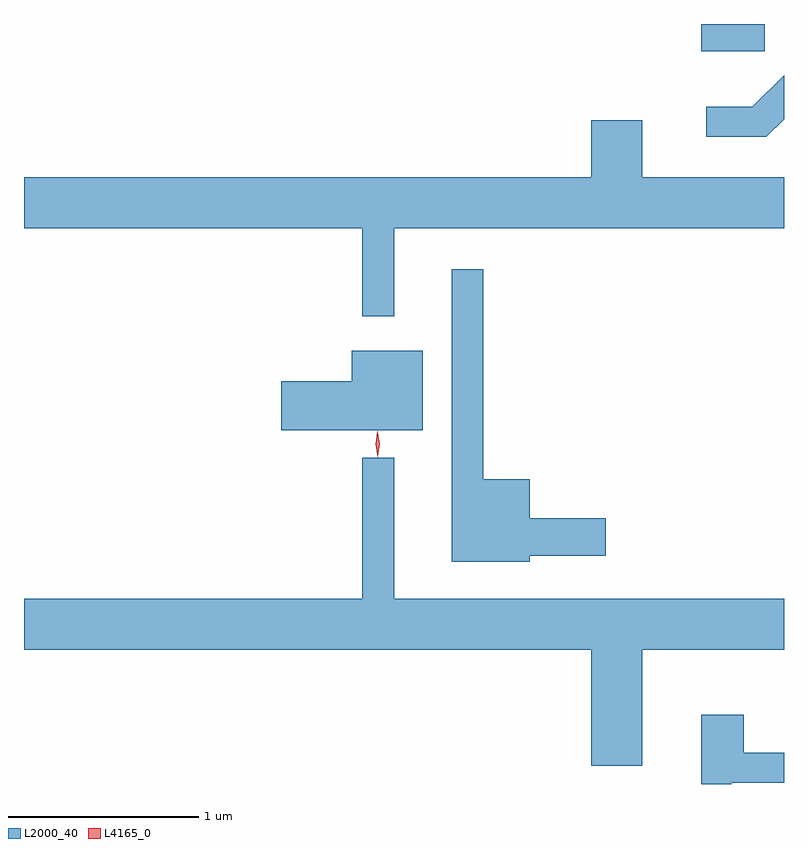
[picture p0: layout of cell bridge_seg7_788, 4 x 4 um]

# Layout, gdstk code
import gdstk
lib = gdstk.Library(unit=1e-6, precision=1e-09)
def R(c, l, rs):  # rectangles x0, y0, x1, y1
    for r in rs: c.add(gdstk.rectangle(r[:2], r[2:], *l))
def P(c, l, *ps):  # polygons
    for p in ps: c.add(gdstk.Polygon(p, *l))
L2000_40 = (2000, 40)
L4165_0 = (4165, 0)

bridge_seg7_788 = lib.new_cell('bridge_seg7_788')
R(bridge_seg7_788, L2000_40, [(375.496,1784.066,375.829,1784.21)])
P(bridge_seg7_788, L2000_40, [(375.931,1783.71),(375.931,1783.941),(375.764,1783.774),(375.523,1783.774),(375.523,1783.616),(375.837,1783.616)],
  [(371.931,1783.136),(373.711,1783.136),(373.711,1782.673),(373.879,1782.673),(373.879,1783.136),(375.931,1783.136),(375.931,1783.404),(375.184,1783.404),(375.184,1783.704),(374.916,1783.704),(374.916,1783.404),(371.931,1783.404)],
  [(374.594,1781.411),(374.994,1781.411),(374.994,1781.609),(374.594,1781.609),(374.594,1781.814),(374.349,1781.814),(374.349,1782.918),(374.181,1782.918),(374.181,1781.381),(374.594,1781.381)],
  [(374.029,1782.489),(373.656,1782.489),(373.656,1782.329),(373.286,1782.329),(373.286,1782.071),(374.029,1782.071)],
  [(375.184,1780.916),(375.931,1780.916),(375.931,1781.184),(373.879,1781.184),(373.879,1781.928),(373.711,1781.928),(373.711,1781.184),(371.931,1781.184),(371.931,1780.916),(374.916,1780.916),(374.916,1780.306),(375.184,1780.306)],
  [(375.654,1780.216),(375.931,1780.216),(375.931,1780.374),(375.719,1780.374),(375.719,1780.574),(375.496,1780.574),(375.496,1780.21),(375.654,1780.21)])
P(bridge_seg7_788, L4165_0, [(373.794,1781.933),(373.793,1781.934),(373.784,1781.997),(373.793,1782.059),(373.794,1782.06),(373.794,1782.059),(373.804,1781.997),(373.794,1781.934)],
  [(373.792,1781.93),(373.792,1781.93),(373.782,1781.998),(373.791,1782.065),(373.791,1782.066),(373.792,1782.065),(373.802,1781.998),(373.793,1781.93)])

lib.write_gds('bridge_seg7_788.gds')
